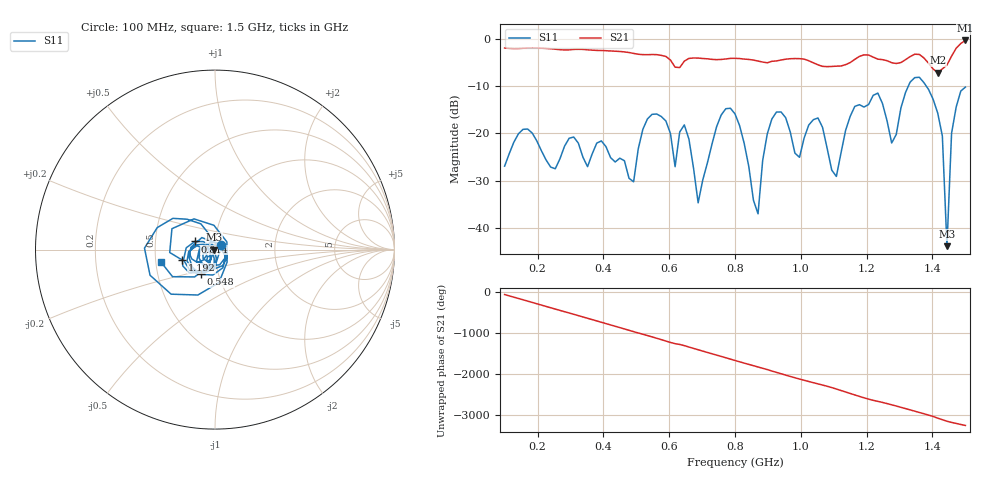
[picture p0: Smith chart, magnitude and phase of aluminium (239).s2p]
! NanoVNA-App
! Date: 2025-09-25 14:57:08
! Start: 100MHz Stop: 1,5GHz Points: 101
! S-Parameter data: F S11 S21 S12 S22
# Hz S RI R 50
!  Frequency  S11_Real  S11_Imag  S21_Real  S21_Imag  S12_Real  S12_Imag  S22_Real  S22_Imag
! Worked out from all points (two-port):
!   101 points, 100 MHz to 1.5 GHz, reference 50 ohm
!   highest |S21| = -0.32 dB at 1.5 GHz (marker M1); lowest = -7.1 dB at 1.416 GHz (marker M2)
!   |S21| within 3 dB of the highest: start of sweep to 520 MHz; 1.461 GHz to end of sweep (the widest 2 of 4)
!   lowest |S11| = -43.9 dB at 1.444 GHz (marker M3), VSWR 1.01, Z = 49.4 + j0.0282 ohm
!   |S11| at or under -10 dB: start of sweep to 1.327 GHz; 1.381 GHz to end of sweep
!   S12 and S22 are empty: the file has one direction only
!   S11 on the Smith chart (normalised r, x): 100 MHz: 1.07, +0.06; 548 MHz: 0.82, -0.23; 814 MHz: 0.80, +0.07; 1.192 GHz: 0.69, -0.08; 1.5 GHz: 0.53, -0.08
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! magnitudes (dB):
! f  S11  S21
! 100 MHz  -27.0  -1.9
! 338 MHz  -25.1  -2.2
! 492 MHz  -30.3  -3.1
! 548 MHz  -16.0  -3.3
! 576 MHz  -16.4  -3.5
! 618 MHz  -27.1  -6.0
! 646 MHz  -18.2  -4.7
! 688 MHz  -34.7  -4.0
! 800 MHz  -15.9  -4.1
! 814 MHz  -18.4  -4.1
! 870 MHz  -37.1  -4.7
! 912 MHz  -17.0  -4.7
! 1.038 GHz  -17.1  -5.1
! 1.108 GHz  -29.1  -5.8
! 1.192 GHz  -14.4  -3.4
! 1.276 GHz  -22.0  -5.0
! 1.346 GHz  -8.2  -3.2
! 1.416 GHz  -15.7  -7.1
! 1.43 GHz  -20.6  -6.3
! 1.444 GHz  -43.9  -5.5
! 1.458 GHz  -20.0  -3.6
! 1.5 GHz  -10.2  -0.3
